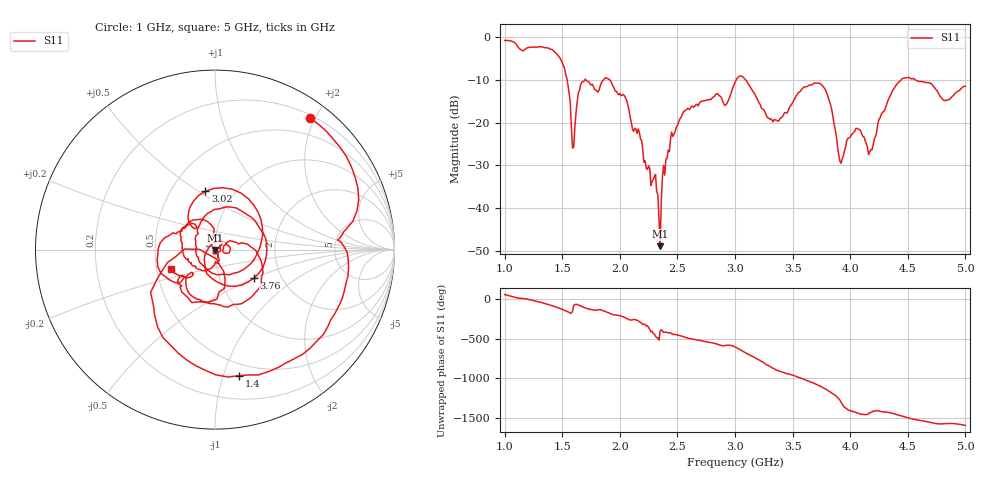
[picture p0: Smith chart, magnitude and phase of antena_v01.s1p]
!Agilent Technologies,N5224A,MY51441093,A.09.90.21
!Agilent N5224A: A.09.90.21
!Date: Monday, November 03, 2025 14:08:28
!Correction: S11(Full 2 Port(1,2))
!S1P File: Measurement: S11:
# Hz S  dB  R 50
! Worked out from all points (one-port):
!   401 points, 1 GHz to 5 GHz, reference 50 ohm
!   lowest |S11| = -48.8 dB at 2.35 GHz (marker M1), VSWR 1.01, Z = 50.3 - j0.254 ohm
!   |S11| at or under -10 dB: 1.911 GHz to 3.011 GHz (1.101 GHz wide, 44.7 % of centre); 3.091 GHz to 4.444 GHz (1.353 GHz wide, 35.9 % of centre); 4.564 GHz to end of sweep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
!   S11 on the Smith chart (normalised r, x): 1 GHz: 0.24, +1.93; 1.4 GHz: 0.39, -1.13; 3.02 GHz: 0.73, +0.53; 3.76 GHz: 1.45, -0.50; 5 GHz: 0.60, -0.14
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1e9  -0.87 54.3
1.08e9  -1.24 23.3
1.23e9  -2.46 -14.5
1.4e9  -2.92 -79.3
1.5e9  -6.09 -132.7
1.6e9  -25.70 -81.6
1.68e9  -10.48 -102.6
1.89e9  -9.70 -169.6
2e9  -13.24 148.6
2.17e9  -22.37 71.1
2.35e9  -48.80 -44.2
2.39e9  -32.25 -59.6
2.5e9  -20.74 -96.6
3e9  -10.64 114.3
3.02e9  -9.66 99.5
3.11e9  -10.73 24.5
3.22e9  -15.84 -61.2
3.35e9  -19.39 -171.3
3.5e9  -15.34 118.3
3.62e9  -11.63 51.8
3.76e9  -11.41 -36.3
3.91e9  -28.91 164.9
4e9  -23.40 31.0
4.18e9  -26.28 7.7
4.35e9  -13.65 2.8
4.5e9  -9.53 -59.9
4.82e9  -14.90 -133.5
5e9  -11.53 -156.5
